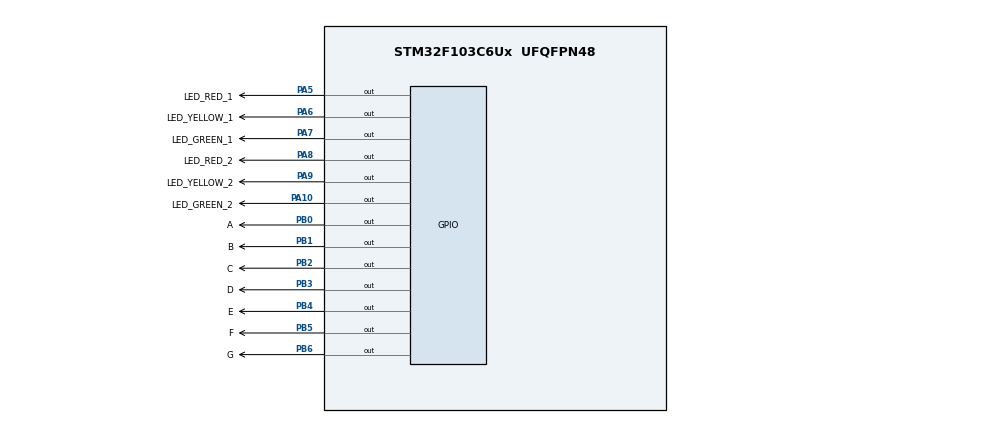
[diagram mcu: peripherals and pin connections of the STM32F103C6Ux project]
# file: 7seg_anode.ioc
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Mcu.Family=STM32F1
Mcu.Name=STM32F103C6Ux
Mcu.Package=UFQFPN48
NVIC.PriorityGroup=NVIC_PRIORITYGROUP_4
PA10.GPIO_Label=LED_GREEN_2
PA10.Signal=GPIO_Output
PA5.GPIO_Label=LED_RED_1
PA5.Signal=GPIO_Output
PA6.GPIO_Label=LED_YELLOW_1
PA6.Signal=GPIO_Output
PA7.GPIO_Label=LED_GREEN_1
PA7.Signal=GPIO_Output
PA8.GPIO_Label=LED_RED_2
PA8.Signal=GPIO_Output
PA9.GPIO_Label=LED_YELLOW_2
PA9.Signal=GPIO_Output
PB0.GPIO_Label=A
PB0.Signal=GPIO_Output
PB1.GPIO_Label=B
PB1.Signal=GPIO_Output
PB2.GPIO_Label=C
PB2.Signal=GPIO_Output
PB3.GPIO_Label=D
PB3.Signal=GPIO_Output
PB4.GPIO_Label=E
PB4.Signal=GPIO_Output
PB5.GPIO_Label=F
PB5.Signal=GPIO_Output
PB6.GPIO_Label=G
PB6.Signal=GPIO_Output
ProjectManager.HeapSize=0x200
ProjectManager.StackSize=0x400
ProjectManager.TargetToolchain=STM32CubeIDE
RCC.APB1Freq_Value=8000000
RCC.APB2Freq_Value=8000000
VP_SYS_VS_ND.Mode=No_Debug
board=custom

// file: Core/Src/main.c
/* USER CODE BEGIN Header */
/**
 ******************************************************************************
 * @file           : main.c
 * @brief          : Main program body
 ******************************************************************************
 * @attention
 *
 * <h2><center>&copy; Copyright (c) 2025 STMicroelectronics.
 * All rights reserved.</center></h2>
 *
 * This software component is licensed by ST under BSD 3-Clause license,
 * the "License"; You may not use this file except in compliance with the
 * License. You may obtain a copy of the License at:
 *                        opensource.org/licenses/BSD-3-Clause
 *
 ******************************************************************************
 */
/* USER CODE END Header */
#include "main.h"

/* from 0->9 binary code*/

void SystemClock_Config(void);
static void MX_GPIO_Init(void);
void display7SEG(int num);

void display7SEG(int num)
{
    const uint8_t mixi[10] = {0b1000000, 0b1111001, 0b0100100, 0b0110000,
                                    0b0011001, 0b0010010, 0b0000010, 0b1111000, 0b0000000, 0b0010000};

    // Ensure num is between 0 and 9
    if (num < 0 || num > 9) return;

    // Write each bit of the pattern to the corresponding GPIO pin (PB0 to PB6)
    HAL_GPIO_WritePin(GPIOB, A_Pin, (mixi[num] & (1 << 0)) ? GPIO_PIN_SET : GPIO_PIN_RESET);
    HAL_GPIO_WritePin(GPIOB, B_Pin, (mixi[num] & (1 << 1)) ? GPIO_PIN_SET : GPIO_PIN_RESET);
    HAL_GPIO_WritePin(GPIOB, C_Pin, (mixi[num] & (1 << 2)) ? GPIO_PIN_SET : GPIO_PIN_RESET); // Segment C (PB2)
    HAL_GPIO_WritePin(GPIOB, D_Pin, (mixi[num] & (1 << 3)) ? GPIO_PIN_SET : GPIO_PIN_RESET); // Segment D (PB3)
    HAL_GPIO_WritePin(GPIOB, E_Pin, (mixi[num] & (1 << 4)) ? GPIO_PIN_SET : GPIO_PIN_RESET); // Segment E (PB4)
    HAL_GPIO_WritePin(GPIOB, F_Pin, (mixi[num] & (1 << 5)) ? GPIO_PIN_SET : GPIO_PIN_RESET); // Segment F (PB5)
    HAL_GPIO_WritePin(GPIOB, G_Pin, (mixi[num] & (1 << 6)) ? GPIO_PIN_SET : GPIO_PIN_RESET); // Segment G (PB6)
}

int main(void)
{

    /* MCU Configuration--------------------------------------------------------*/

    /* Reset of all peripherals, Initializes the Flash interface and the Systick. */
    HAL_Init();

    /* Configure the system clock */
    SystemClock_Config();

    /* Initialize all configured peripherals */
    MX_GPIO_Init();

    /* Infinite loop */
    /* USER CODE BEGIN WHILE */
    int counter = 0;
    while (1)
    {
        if (counter < 5)
        {
            if (counter < 3)
            {
                HAL_GPIO_WritePin(LED_RED_1_GPIO_Port, LED_RED_1_Pin, GPIO_PIN_RESET);
                HAL_GPIO_WritePin(LED_YELLOW_1_GPIO_Port, LED_YELLOW_1_Pin, GPIO_PIN_SET);
                HAL_GPIO_WritePin(LED_GREEN_1_GPIO_Port, LED_GREEN_1_Pin, GPIO_PIN_SET);

                HAL_GPIO_WritePin(LED_RED_2_GPIO_Port, LED_RED_2_Pin, GPIO_PIN_SET);
                HAL_GPIO_WritePin(LED_YELLOW_2_GPIO_Port, LED_YELLOW_2_Pin, GPIO_PIN_SET);
                HAL_GPIO_WritePin(LED_GREEN_2_GPIO_Port, LED_GREEN_2_Pin, GPIO_PIN_RESET);
            }
            else
            {
                HAL_GPIO_WritePin(LED_RED_1_GPIO_Port, LED_RED_1_Pin, GPIO_PIN_RESET);
                HAL_GPIO_WritePin(LED_YELLOW_1_GPIO_Port, LED_YELLOW_1_Pin, GPIO_PIN_SET);
                HAL_GPIO_WritePin(LED_GREEN_1_GPIO_Port, LED_GREEN_1_Pin, GPIO_PIN_SET);

                HAL_GPIO_WritePin(LED_RED_2_GPIO_Port, LED_RED_2_Pin, GPIO_PIN_SET);
                HAL_GPIO_WritePin(LED_YELLOW_2_GPIO_Port, LED_YELLOW_2_Pin, GPIO_PIN_RESET);
                HAL_GPIO_WritePin(LED_GREEN_2_GPIO_Port, LED_GREEN_2_Pin, GPIO_PIN_SET);
            }
        }

        else if (counter < 8)
        {
            HAL_GPIO_WritePin(LED_RED_1_GPIO_Port, LED_RED_1_Pin, GPIO_PIN_SET);
            HAL_GPIO_WritePin(LED_YELLOW_1_GPIO_Port, LED_YELLOW_1_Pin, GPIO_PIN_SET);
            HAL_GPIO_WritePin(LED_GREEN_1_GPIO_Port, LED_GREEN_1_Pin, GPIO_PIN_RESET);

            HAL_GPIO_WritePin(LED_RED_2_GPIO_Port, LED_RED_2_Pin, GPIO_PIN_RESET);
            HAL_GPIO_WritePin(LED_YELLOW_2_GPIO_Port, LED_YELLOW_2_Pin, GPIO_PIN_SET);
            HAL_GPIO_WritePin(LED_GREEN_2_GPIO_Port, LED_GREEN_2_Pin, GPIO_PIN_SET);
        }

        else
        {
            HAL_GPIO_WritePin(LED_RED_1_GPIO_Port, LED_RED_1_Pin, GPIO_PIN_SET);
            HAL_GPIO_WritePin(LED_YELLOW_1_GPIO_Port, LED_YELLOW_1_Pin, GPIO_PIN_RESET);
            HAL_GPIO_WritePin(LED_GREEN_1_GPIO_Port, LED_GREEN_1_Pin, GPIO_PIN_SET);

            HAL_GPIO_WritePin(LED_RED_2_GPIO_Port, LED_RED_2_Pin, GPIO_PIN_RESET);
            HAL_GPIO_WritePin(LED_YELLOW_2_GPIO_Port, LED_YELLOW_2_Pin, GPIO_PIN_SET);
            HAL_GPIO_WritePin(LED_GREEN_2_GPIO_Port, LED_GREEN_2_Pin, GPIO_PIN_SET);
        }
        /* USER CODE END WHILE */
        if (counter >= 10) counter = 0;
        display7SEG(counter++);
        HAL_Delay(1000);
    }
}

void SystemClock_Config(void)
{
    RCC_OscInitTypeDef RCC_OscInitStruct = {0};
    RCC_ClkInitTypeDef RCC_ClkInitStruct = {0};

    /** Initializes the RCC Oscillators according to the specified parameters
     * in the RCC_OscInitTypeDef structure.
     */
    RCC_OscInitStruct.OscillatorType = RCC_OSCILLATORTYPE_HSI;
    RCC_OscInitStruct.HSIState = RCC_HSI_ON;
    RCC_OscInitStruct.HSICalibrationValue = RCC_HSICALIBRATION_DEFAULT;
    RCC_OscInitStruct.PLL.PLLState = RCC_PLL_NONE;
    if (HAL_RCC_OscConfig(&RCC_OscInitStruct) != HAL_OK)
    {
        Error_Handler();
    }
    /** Initializes the CPU, AHB and APB buses clocks
     */
    RCC_ClkInitStruct.ClockType = RCC_CLOCKTYPE_HCLK | RCC_CLOCKTYPE_SYSCLK | RCC_CLOCKTYPE_PCLK1 | RCC_CLOCKTYPE_PCLK2;
    RCC_ClkInitStruct.SYSCLKSource = RCC_SYSCLKSOURCE_HSI;
    RCC_ClkInitStruct.AHBCLKDivider = RCC_SYSCLK_DIV1;
    RCC_ClkInitStruct.APB1CLKDivider = RCC_HCLK_DIV1;
    RCC_ClkInitStruct.APB2CLKDivider = RCC_HCLK_DIV1;

    if (HAL_RCC_ClockConfig(&RCC_ClkInitStruct, FLASH_LATENCY_0) != HAL_OK)
    {
        Error_Handler();
    }
}

static void MX_GPIO_Init(void)
{
    GPIO_InitTypeDef GPIO_InitStruct = {0};

    /* GPIO Ports Clock Enable */
    __HAL_RCC_GPIOA_CLK_ENABLE();
    __HAL_RCC_GPIOB_CLK_ENABLE();

    /*Configure GPIO pin Output Level */
    HAL_GPIO_WritePin(GPIOA, LED_RED_1_Pin | LED_YELLOW_1_Pin | LED_GREEN_1_Pin | LED_RED_2_Pin | LED_YELLOW_2_Pin | LED_GREEN_2_Pin, GPIO_PIN_RESET);

    /*Configure GPIO pin Output Level */
    HAL_GPIO_WritePin(GPIOB, A_Pin | B_Pin | C_Pin | D_Pin | E_Pin | F_Pin | G_Pin, GPIO_PIN_RESET);

    /*Configure GPIO pins : LED_RED_1_Pin LED_YELLOW_1_Pin LED_GREEN_1_Pin LED_RED_2_Pin
                             LED_YELLOW_2_Pin LED_GREEN_2_Pin */
    GPIO_InitStruct.Pin = LED_RED_1_Pin | LED_YELLOW_1_Pin | LED_GREEN_1_Pin | LED_RED_2_Pin | LED_YELLOW_2_Pin | LED_GREEN_2_Pin;
    GPIO_InitStruct.Mode = GPIO_MODE_OUTPUT_PP;
    GPIO_InitStruct.Pull = GPIO_NOPULL;
    GPIO_InitStruct.Speed = GPIO_SPEED_FREQ_LOW;
    HAL_GPIO_Init(GPIOA, &GPIO_InitStruct);

    /*Configure GPIO pins : A_Pin B_Pin C_Pin D_Pin
                             E_Pin F_Pin G_Pin */
    GPIO_InitStruct.Pin = A_Pin | B_Pin | C_Pin | D_Pin | E_Pin | F_Pin | G_Pin;
    GPIO_InitStruct.Mode = GPIO_MODE_OUTPUT_PP;
    GPIO_InitStruct.Pull = GPIO_NOPULL;
    GPIO_InitStruct.Speed = GPIO_SPEED_FREQ_LOW;
    HAL_GPIO_Init(GPIOB, &GPIO_InitStruct);
}

void Error_Handler(void)
{
    __disable_irq();
    while (1)
    {
    }
}

/************************ (C) COPYRIGHT STMicroelectronics *****END OF FILE****/
